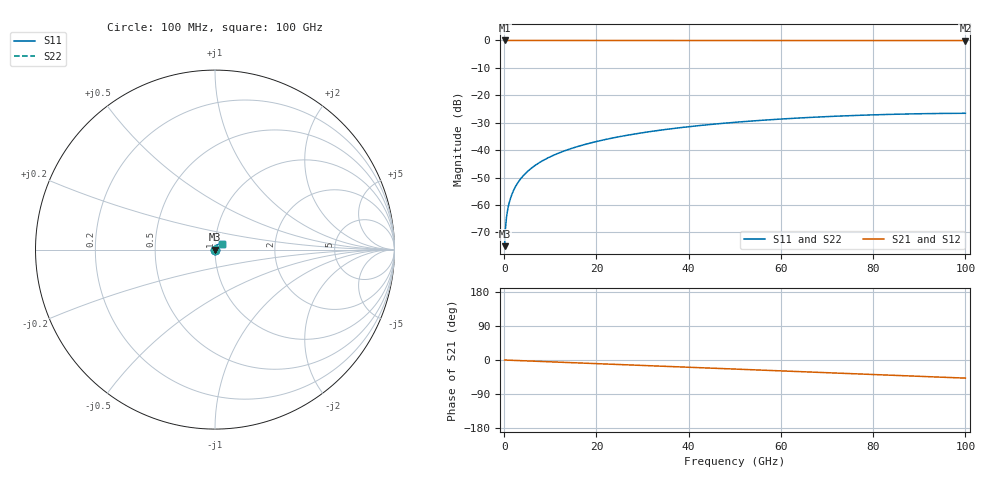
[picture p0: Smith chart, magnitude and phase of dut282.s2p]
! Touchstone file exported from HFSS 2026.1.0
!  File:  C:/ffzhzh/LocalFiles/Ansys_Project_Files/temp_train_TSV_282_1783508873_44152.aedt
!  Generated:  07:09:13 PM Jul  8, 2026
!  Design:  TSV
!  Project:  temp_train_TSV_282_1783508873_44152
! Variables:
!  h_bsmrdl = 2um
!  h_ox = 20um
!  h_rdl = 5um
!  h_sub = 96.88um
!  h_tmrdl = 5um
!  h_tsv = 96.88um
!  h_via = 3um
!  l_bsmrdl = 300um
!  l_sub = 421.54um
!  l_tmrdl = 200um
!  m_sub = 200um
!  pitch = 48.12um
!  r_tsv = 10.77um
!  s_tmrdl = 10um
!  w_bsmrdl = 18um
!  w_sub = 500um
!  w_tmrdl = 12um
!  x_tsv_center1 = 206um
!  x_tsv_center2 = 524um
!  x_tsv_center3 = 736um
!  x_tsv_center4 = 1054um
!  x_tsv_center5 = 1266um
!  x_tsv_center6 = 1584um
# GHz S MA R 50.000000
! Terminal data exported
! Port[1] = TSV1_1_T1
! Port[2] = TSV1_1_T2
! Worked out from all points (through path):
!   1000 points, 100 MHz to 100 GHz, reference 50 ohm
!   highest |S21| = 0.00 dB at 100 MHz (marker M1); lowest = 0.0 dB at 100 GHz (marker M2)
!   group delay of S21, straight-line fit = 1.33 ps
!   lowest |S11| = -75.0 dB at 100 MHz (marker M3), VSWR 1.00, Z = 50 + j0.0121 ohm
!   |S11| at or under -10 dB: start of sweep to end of sweep
!   |S22| runs from -75.0 to -26.5 dB; largest |S21 - S12| = 7.2e-15
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0.1  0.0001778 42.7  0.9999 -0.1  0.9999 -0.1  0.0001778 42.7
! Gamma 0 0 0 0
! Port Impedance 50 0 50 0
0.4  0.0004879 66.7  0.9998 -0.2  0.9998 -0.2  0.0004879 66.7
0.7  0.000767 69.7  0.9997 -0.3  0.9997 -0.3  0.000767 69.7
0.8  0.0008528 70.3  0.9997 -0.4  0.9997 -0.4  0.0008528 70.3
1  0.001019 71.4  0.9997 -0.5  0.9997 -0.5  0.001019 71.4
1.3  0.00126 72.8  0.9996 -0.6  0.9996 -0.6  0.00126 72.8
1.8  0.001655 74.4  0.9996 -0.9  0.9996 -0.9  0.001655 74.4
2.4  0.002119 75.6  0.9995 -1.2  0.9995 -1.2  0.002119 75.6
3.1  0.002649 76.5  0.9994 -1.5  0.9994 -1.5  0.002649 76.5
3.9  0.003241 77.0  0.9994 -1.9  0.9994 -1.9  0.003241 77.0
4.9  0.003969 77.5  0.9993 -2.4  0.9993 -2.4  0.003969 77.5
6.1  0.004832 77.8  0.9992 -2.9  0.9992 -2.9  0.004832 77.8
8.9  0.006817 77.8  0.999 -4.3  0.999 -4.3  0.006817 77.8
12.4  0.009251 77.0  0.9988 -6.0  0.9988 -6.0  0.009251 77.0
16.8  0.01224 75.8  0.9986 -8.1  0.9986 -8.1  0.01224 75.8
24.2  0.01711 73.2  0.9983 -11.6  0.9983 -11.6  0.01711 73.2
33.4  0.02288 69.5  0.9979 -16.0  0.9979 -16.0  0.02288 69.5
41.3  0.02751 66.1  0.9976 -19.7  0.9976 -19.7  0.02751 66.1
50.1  0.03224 62.2  0.9972 -23.9  0.9972 -23.9  0.03224 62.2
66.7  0.0397 54.7  0.9966 -31.9  0.9966 -31.9  0.0397 54.7
83.4  0.04487 46.9  0.996 -39.9  0.996 -39.9  0.04487 46.9
100  0.04705 39.2  0.9954 -47.8  0.9954 -47.8  0.04705 39.1
